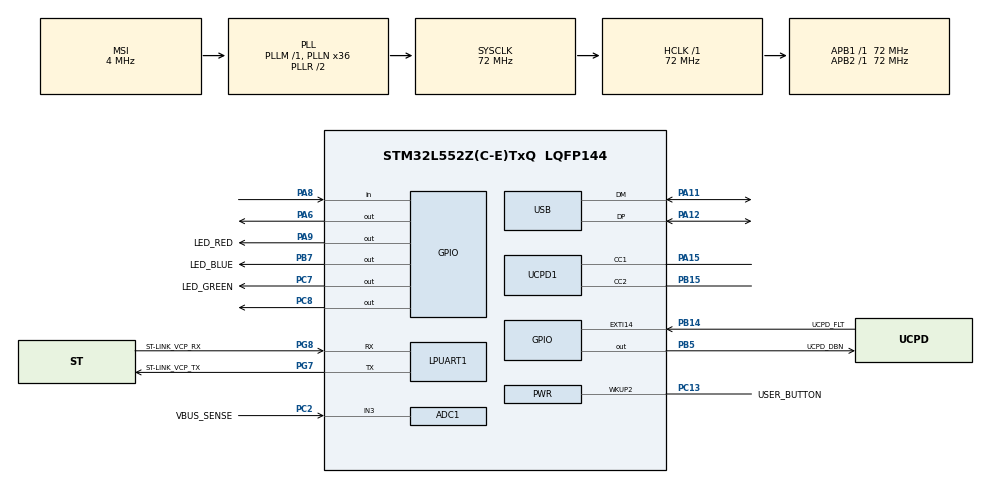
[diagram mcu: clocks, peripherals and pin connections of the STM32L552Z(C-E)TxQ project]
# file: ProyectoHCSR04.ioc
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ADC1.Channel-0\#ChannelRegularConversion=ADC_CHANNEL_3
ADC1.NbrOfConversionFlag=1
ADC1.OffsetNumber-0\#ChannelRegularConversion=ADC_OFFSET_NONE
ADC1.Rank-0\#ChannelRegularConversion=1
ADC1.SamplingTime-0\#ChannelRegularConversion=ADC_SAMPLETIME_2CYCLES_5
ADC1.master=1
Mcu.Family=STM32L5
Mcu.Name=STM32L552Z(C-E)TxQ
Mcu.Package=LQFP144
Mcu.TrustZone=disable
NVIC.PriorityGroup=NVIC_PRIORITYGROUP_3
PA11.Mode=Device
PA11.Signal=USB_DM
PA12.Mode=Device
PA12.Signal=USB_DP
PA13\ (JTMS/SWDIO).Mode=Trace_Asynchronous_SW
PA13\ (JTMS/SWDIO).Signal=DEBUG_JTMS-SWDIO
PA14\ (JTCK/SWCLK).Mode=Trace_Asynchronous_SW
PA14\ (JTCK/SWCLK).Signal=DEBUG_JTCK-SWCLK
PA15\ (JTDI).Mode=Source_AllSignals
PA15\ (JTDI).Signal=UCPD1_CC1
PA6.Signal=GPIO_Output
PA8.Signal=GPIO_Input
PA9.GPIO_Label=LED_RED
PA9.Signal=GPIO_Output
PB14.GPIO_Label=UCPD_FLT
PB14.Signal=GPXTI14
PB15.Mode=Source_AllSignals
PB15.Signal=UCPD1_CC2
PB3\ (JTDO/TRACESWO).Mode=Trace_Asynchronous_SW
PB3\ (JTDO/TRACESWO).Signal=DEBUG_JTDO-SWO
PB5.GPIO_Label=UCPD_DBN
PB5.Signal=GPIO_Output
PB7.GPIO_Label=LED_BLUE
PB7.Signal=GPIO_Output
PC13.GPIO_Label=USER_BUTTON
PC13.Mode=WakeUp1
PC13.Signal=PWR_WKUP2
PC14-OSC32_IN\ (PC14).Mode=LSE-External-Oscillator
PC14-OSC32_IN\ (PC14).Signal=RCC_OSC32_IN
PC15-OSC32_OUT\ (PC15).Mode=LSE-External-Oscillator
PC15-OSC32_OUT\ (PC15).Signal=RCC_OSC32_OUT
PC2.GPIO_Label=VBUS_SENSE
PC2.Signal=ADCx_IN3
PC7.GPIO_Label=LED_GREEN
PC7.Signal=GPIO_Output
PC8.Signal=GPIO_Output
PG7.GPIO_Label=ST-LINK_VCP_TX
PG7.Mode=Asynchronous
PG7.Signal=LPUART1_TX
PG8.GPIO_Label=ST-LINK_VCP_RX
PG8.Mode=Asynchronous
PG8.Signal=LPUART1_RX
ProjectManager.HeapSize=0x200
ProjectManager.StackSize=0x400
ProjectManager.TargetToolchain=STM32CubeIDE
RCC.ADCCLockSelection=RCC_ADCCLKSOURCE_SYSCLK
RCC.ADCFreq_Value=72000000
RCC.AHBFreq_Value=72000000
RCC.APB1Freq_Value=72000000
RCC.APB1TimFreq_Value=72000000
RCC.APB2Freq_Value=72000000
RCC.APB2TimFreq_Value=72000000
RCC.CK48CLockSelection=RCC_USBCLKSOURCE_HSI48
RCC.CortexFreq_Value=72000000
RCC.HCLKFreq_Value=72000000
RCC.HSE_VALUE=8000000
RCC.HSI48_VALUE=48000000
RCC.HSI_VALUE=16000000
RCC.MSI_VALUE=4000000
RCC.PLLN=36
RCC.PLLSAI1N=24
RCC.RTCClockSelection=RCC_RTCCLKSOURCE_LSE
RCC.SYSCLKFreq_VALUE=72000000
RCC.SYSCLKSource=RCC_SYSCLKSOURCE_PLLCLK
RCC.USBFreq_Value=48000000
RCC.VCOOutputFreq_Value=144000000
SH.ADCx_IN3.0=ADC1_IN3,IN3-Single-Ended
TIM1.Prescaler=72-1
VP_ICACHE_VS_ICACHE.Mode=DirectMappedCache
VP_PWR_VS_DBSignals.Mode=DisableDeadBatterySignals
VP_PWR_VS_SECSignals.Mode=Security/Privilege
VP_RTC_VS_RTC_Activate.Mode=RTC_Enabled
VP_TIM1_VS_ClockSourceINT.Mode=Internal
board=NUCLEO-L552ZE-Q

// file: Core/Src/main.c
/* USER CODE BEGIN Header */
/**
  ******************************************************************************
  * @file           : main.c
  * @brief          : Main program body
  ******************************************************************************
  * @attention
  *
  * Copyright (c) 2024 STMicroelectronics.
  * All rights reserved.
  *
  * This software is licensed under terms that can be found in the LICENSE file
  * in the root directory of this software component.
  * If no LICENSE file comes with this software, it is provided AS-IS.
  *
  ******************************************************************************
  */
/* USER CODE END Header */
#include "main.h"

ADC_HandleTypeDef hadc1;

UART_HandleTypeDef hlpuart1;

RTC_HandleTypeDef hrtc;

TIM_HandleTypeDef htim1;

PCD_HandleTypeDef hpcd_USB_FS;

void SystemClock_Config(void);
static void MX_GPIO_Init(void);
static void MX_ADC1_Init(void);
static void MX_ICACHE_Init(void);
static void MX_LPUART1_UART_Init(void);
static void MX_RTC_Init(void);
static void MX_UCPD1_Init(void);
static void MX_USB_PCD_Init(void);
static void MX_TIM1_Init(void);

/* USER CODE BEGIN 0 */
uint32_t IC_Val1 = 0;
uint32_t IC_Val2 = 0;
uint32_t Difference = 0;
uint8_t Is_First_Captured = 0;  // is the first value captured ?
uint32_t Distance  = 255;
uint32_t DistanceOld  = 0;
uint32_t pMillis;
uint32_t Value1 = 0;
uint32_t Value2 = 0;

#define TRIG_PIN GPIO_PIN_8
#define TRIG_PORT GPIOC
#define ECHO_PORT GPIOA
#define ECHO_PIN GPIO_PIN_8

void HCSR04_Read (void);
void delay(uint32_t time);
void pitidoZumbador(int tiempo);
int calcularTiempo(long Distance);
/* USER CODE END 0 */

int main(void)
{

  /* MCU Configuration--------------------------------------------------------*/

  /* Reset of all peripherals, Initializes the Flash interface and the Systick. */
  HAL_Init();

  /* Configure the system clock */
  SystemClock_Config();

  /* Initialize all configured peripherals */
  MX_GPIO_Init();
  MX_ADC1_Init();
  MX_ICACHE_Init();
  MX_LPUART1_UART_Init();
  MX_RTC_Init();
  MX_UCPD1_Init();
  MX_USB_PCD_Init();
  MX_TIM1_Init();
  /* USER CODE BEGIN 2 */
  HAL_TIM_Base_Start(&htim1);
  HAL_GPIO_WritePin(TRIG_PORT, TRIG_PIN, GPIO_PIN_RESET);
  /* USER CODE END 2 */

  /* Infinite loop */
  /* USER CODE BEGIN WHILE */
  HAL_GPIO_WritePin(GPIOA, GPIO_PIN_6, GPIO_PIN_RESET);
  int tiempo = 0;
  while (1)
  {
    /* USER CODE END WHILE */

    /* USER CODE BEGIN 3 */
	  DistanceOld = Distance;
	  HAL_GPIO_WritePin(TRIG_PORT, TRIG_PIN, GPIO_PIN_SET);  // pull the TRIG pin HIGH
	      __HAL_TIM_SET_COUNTER(&htim1, 0);
	      while (__HAL_TIM_GET_COUNTER (&htim1) < 10);  // wait for 10 us
	      HAL_GPIO_WritePin(TRIG_PORT, TRIG_PIN, GPIO_PIN_RESET);  // pull the TRIG pin low

	      pMillis = HAL_GetTick(); // used this to avoid infinite while loop  (for timeout)
	      // wait for the echo pin to go high
	      while (!(HAL_GPIO_ReadPin (ECHO_PORT, ECHO_PIN)) && pMillis + 10 >  HAL_GetTick());
	      Value1 = __HAL_TIM_GET_COUNTER (&htim1);

	      pMillis = HAL_GetTick(); // used this to avoid infinite while loop (for timeout)
	      // wait for the echo pin to go low
	      while ((HAL_GPIO_ReadPin (ECHO_PORT, ECHO_PIN)) && pMillis + 50 > HAL_GetTick());
	      Value2 = __HAL_TIM_GET_COUNTER (&htim1);
	      Distance = (Value2-Value1)* 0.034/2;

	      //if(DistanceOld - Distance >= 100 || Distance - DistanceOld >= 100){
	    //  HAL_GPIO_WritePin(GPIOA, GPIO_PIN_6, GPIO_PIN_RESET);
	      //}else{

	    	  tiempo = calcularTiempo(Distance);
	    	  if(tiempo == 69){
	    		  HAL_GPIO_WritePin(GPIOA, GPIO_PIN_6, GPIO_PIN_RESET);
	    		  HAL_Delay(100);
	    	  }else{
	    		  pitidoZumbador(tiempo);
	    	  }
	      //}

  }
  /* USER CODE END 3 */
}

void SystemClock_Config(void)
{
  RCC_OscInitTypeDef RCC_OscInitStruct = {0};
  RCC_ClkInitTypeDef RCC_ClkInitStruct = {0};

  /** Configure the main internal regulator output voltage
  */
  if (HAL_PWREx_ControlVoltageScaling(PWR_REGULATOR_VOLTAGE_SCALE1) != HAL_OK)
  {
    Error_Handler();
  }

  /** Configure LSE Drive Capability
  */
  HAL_PWR_EnableBkUpAccess();
  __HAL_RCC_LSEDRIVE_CONFIG(RCC_LSEDRIVE_LOW);

  /** Initializes the RCC Oscillators according to the specified parameters
  * in the RCC_OscInitTypeDef structure.
  */
  RCC_OscInitStruct.OscillatorType = RCC_OSCILLATORTYPE_HSI48|RCC_OSCILLATORTYPE_HSI
                              |RCC_OSCILLATORTYPE_LSE|RCC_OSCILLATORTYPE_MSI;
  RCC_OscInitStruct.LSEState = RCC_LSE_ON;
  RCC_OscInitStruct.HSIState = RCC_HSI_ON;
  RCC_OscInitStruct.HSI48State = RCC_HSI48_ON;
  RCC_OscInitStruct.HSICalibrationValue = RCC_HSICALIBRATION_DEFAULT;
  RCC_OscInitStruct.MSIState = RCC_MSI_ON;
  RCC_OscInitStruct.MSICalibrationValue = RCC_MSICALIBRATION_DEFAULT;
  RCC_OscInitStruct.MSIClockRange = RCC_MSIRANGE_6;
  RCC_OscInitStruct.PLL.PLLState = RCC_PLL_ON;
  RCC_OscInitStruct.PLL.PLLSource = RCC_PLLSOURCE_MSI;
  RCC_OscInitStruct.PLL.PLLM = 1;
  RCC_OscInitStruct.PLL.PLLN = 36;
  RCC_OscInitStruct.PLL.PLLP = RCC_PLLP_DIV7;
  RCC_OscInitStruct.PLL.PLLQ = RCC_PLLQ_DIV2;
  RCC_OscInitStruct.PLL.PLLR = RCC_PLLR_DIV2;
  if (HAL_RCC_OscConfig(&RCC_OscInitStruct) != HAL_OK)
  {
    Error_Handler();
  }

  /** Initializes the CPU, AHB and APB buses clocks
  */
  RCC_ClkInitStruct.ClockType = RCC_CLOCKTYPE_HCLK|RCC_CLOCKTYPE_SYSCLK
                              |RCC_CLOCKTYPE_PCLK1|RCC_CLOCKTYPE_PCLK2;
  RCC_ClkInitStruct.SYSCLKSource = RCC_SYSCLKSOURCE_PLLCLK;
  RCC_ClkInitStruct.AHBCLKDivider = RCC_SYSCLK_DIV1;
  RCC_ClkInitStruct.APB1CLKDivider = RCC_HCLK_DIV1;
  RCC_ClkInitStruct.APB2CLKDivider = RCC_HCLK_DIV1;

  if (HAL_RCC_ClockConfig(&RCC_ClkInitStruct, FLASH_LATENCY_3) != HAL_OK)
  {
    Error_Handler();
  }
}

static void MX_ADC1_Init(void)
{

  ADC_MultiModeTypeDef multimode = {0};
  ADC_ChannelConfTypeDef sConfig = {0};

  /** Common config
  */
  hadc1.Instance = ADC1;
  hadc1.Init.ClockPrescaler = ADC_CLOCK_ASYNC_DIV1;
  hadc1.Init.Resolution = ADC_RESOLUTION_12B;
  hadc1.Init.DataAlign = ADC_DATAALIGN_RIGHT;
  hadc1.Init.ScanConvMode = ADC_SCAN_DISABLE;
  hadc1.Init.EOCSelection = ADC_EOC_SINGLE_CONV;
  hadc1.Init.LowPowerAutoWait = DISABLE;
  hadc1.Init.ContinuousConvMode = DISABLE;
  hadc1.Init.NbrOfConversion = 1;
  hadc1.Init.DiscontinuousConvMode = DISABLE;
  hadc1.Init.ExternalTrigConv = ADC_SOFTWARE_START;
  hadc1.Init.ExternalTrigConvEdge = ADC_EXTERNALTRIGCONVEDGE_NONE;
  hadc1.Init.DMAContinuousRequests = DISABLE;
  hadc1.Init.Overrun = ADC_OVR_DATA_PRESERVED;
  hadc1.Init.OversamplingMode = DISABLE;
  if (HAL_ADC_Init(&hadc1) != HAL_OK)
  {
    Error_Handler();
  }

  /** Configure the ADC multi-mode
  */
  multimode.Mode = ADC_MODE_INDEPENDENT;
  if (HAL_ADCEx_MultiModeConfigChannel(&hadc1, &multimode) != HAL_OK)
  {
    Error_Handler();
  }

  /** Configure Regular Channel
  */
  sConfig.Channel = ADC_CHANNEL_3;
  sConfig.Rank = ADC_REGULAR_RANK_1;
  sConfig.SamplingTime = ADC_SAMPLETIME_2CYCLES_5;
  sConfig.SingleDiff = ADC_SINGLE_ENDED;
  sConfig.OffsetNumber = ADC_OFFSET_NONE;
  sConfig.Offset = 0;
  if (HAL_ADC_ConfigChannel(&hadc1, &sConfig) != HAL_OK)
  {
    Error_Handler();
  }

}

static void MX_ICACHE_Init(void)
{

  /** Enable instruction cache in 1-way (direct mapped cache)
  */
  if (HAL_ICACHE_ConfigAssociativityMode(ICACHE_1WAY) != HAL_OK)
  {
    Error_Handler();
  }
  if (HAL_ICACHE_Enable() != HAL_OK)
  {
    Error_Handler();
  }

}

static void MX_LPUART1_UART_Init(void)
{

  hlpuart1.Instance = LPUART1;
  hlpuart1.Init.BaudRate = 209700;
  hlpuart1.Init.WordLength = UART_WORDLENGTH_8B;
  hlpuart1.Init.StopBits = UART_STOPBITS_1;
  hlpuart1.Init.Parity = UART_PARITY_NONE;
  hlpuart1.Init.Mode = UART_MODE_TX_RX;
  hlpuart1.Init.HwFlowCtl = UART_HWCONTROL_NONE;
  hlpuart1.Init.OneBitSampling = UART_ONE_BIT_SAMPLE_DISABLE;
  hlpuart1.Init.ClockPrescaler = UART_PRESCALER_DIV1;
  hlpuart1.AdvancedInit.AdvFeatureInit = UART_ADVFEATURE_NO_INIT;
  hlpuart1.FifoMode = UART_FIFOMODE_DISABLE;
  if (HAL_UART_Init(&hlpuart1) != HAL_OK)
  {
    Error_Handler();
  }
  if (HAL_UARTEx_SetTxFifoThreshold(&hlpuart1, UART_TXFIFO_THRESHOLD_1_8) != HAL_OK)
  {
    Error_Handler();
  }
  if (HAL_UARTEx_SetRxFifoThreshold(&hlpuart1, UART_RXFIFO_THRESHOLD_1_8) != HAL_OK)
  {
    Error_Handler();
  }
  if (HAL_UARTEx_DisableFifoMode(&hlpuart1) != HAL_OK)
  {
    Error_Handler();
  }

}

static void MX_RTC_Init(void)
{

  RTC_PrivilegeStateTypeDef privilegeState = {0};

  /** Initialize RTC Only
  */
  hrtc.Instance = RTC;
  hrtc.Init.HourFormat = RTC_HOURFORMAT_24;
  hrtc.Init.AsynchPrediv = 127;
  hrtc.Init.SynchPrediv = 255;
  hrtc.Init.OutPut = RTC_OUTPUT_DISABLE;
  hrtc.Init.OutPutRemap = RTC_OUTPUT_REMAP_NONE;
  hrtc.Init.OutPutPolarity = RTC_OUTPUT_POLARITY_HIGH;
  hrtc.Init.OutPutType = RTC_OUTPUT_TYPE_OPENDRAIN;
  hrtc.Init.OutPutPullUp = RTC_OUTPUT_PULLUP_NONE;
  if (HAL_RTC_Init(&hrtc) != HAL_OK)
  {
    Error_Handler();
  }
  privilegeState.rtcPrivilegeFull = RTC_PRIVILEGE_FULL_NO;
  privilegeState.backupRegisterPrivZone = RTC_PRIVILEGE_BKUP_ZONE_NONE;
  privilegeState.backupRegisterStartZone2 = RTC_BKP_DR0;
  privilegeState.backupRegisterStartZone3 = RTC_BKP_DR0;
  if (HAL_RTCEx_PrivilegeModeSet(&hrtc, &privilegeState) != HAL_OK)
  {
    Error_Handler();
  }

}

static void MX_TIM1_Init(void)
{

  TIM_ClockConfigTypeDef sClockSourceConfig = {0};
  TIM_MasterConfigTypeDef sMasterConfig = {0};

  htim1.Instance = TIM1;
  htim1.Init.Prescaler = 72-1;
  htim1.Init.CounterMode = TIM_COUNTERMODE_UP;
  htim1.Init.Period = 65535;
  htim1.Init.ClockDivision = TIM_CLOCKDIVISION_DIV1;
  htim1.Init.RepetitionCounter = 0;
  htim1.Init.AutoReloadPreload = TIM_AUTORELOAD_PRELOAD_DISABLE;
  if (HAL_TIM_Base_Init(&htim1) != HAL_OK)
  {
    Error_Handler();
  }
  sClockSourceConfig.ClockSource = TIM_CLOCKSOURCE_INTERNAL;
  if (HAL_TIM_ConfigClockSource(&htim1, &sClockSourceConfig) != HAL_OK)
  {
    Error_Handler();
  }
  sMasterConfig.MasterOutputTrigger = TIM_TRGO_RESET;
  sMasterConfig.MasterOutputTrigger2 = TIM_TRGO2_RESET;
  sMasterConfig.MasterSlaveMode = TIM_MASTERSLAVEMODE_DISABLE;
  if (HAL_TIMEx_MasterConfigSynchronization(&htim1, &sMasterConfig) != HAL_OK)
  {
    Error_Handler();
  }

}

static void MX_UCPD1_Init(void)
{

  LL_GPIO_InitTypeDef GPIO_InitStruct = {0};

  /* Peripheral clock enable */
  LL_APB1_GRP2_EnableClock(LL_APB1_GRP2_PERIPH_UCPD1);

  LL_AHB2_GRP1_EnableClock(LL_AHB2_GRP1_PERIPH_GPIOB);
  LL_AHB2_GRP1_EnableClock(LL_AHB2_GRP1_PERIPH_GPIOA);
  /**UCPD1 GPIO Configuration
  PB15   ------> UCPD1_CC2
  PA15 (JTDI)   ------> UCPD1_CC1
  */
  GPIO_InitStruct.Pin = LL_GPIO_PIN_15;
  GPIO_InitStruct.Mode = LL_GPIO_MODE_ANALOG;
  GPIO_InitStruct.Pull = LL_GPIO_PULL_NO;
  LL_GPIO_Init(GPIOB, &GPIO_InitStruct);

  GPIO_InitStruct.Pin = LL_GPIO_PIN_15;
  GPIO_InitStruct.Mode = LL_GPIO_MODE_ANALOG;
  GPIO_InitStruct.Pull = LL_GPIO_PULL_NO;
  LL_GPIO_Init(GPIOA, &GPIO_InitStruct);

}

static void MX_USB_PCD_Init(void)
{

  hpcd_USB_FS.Instance = USB;
  hpcd_USB_FS.Init.dev_endpoints = 8;
  hpcd_USB_FS.Init.speed = PCD_SPEED_FULL;
  hpcd_USB_FS.Init.phy_itface = PCD_PHY_EMBEDDED;
  hpcd_USB_FS.Init.Sof_enable = DISABLE;
  hpcd_USB_FS.Init.low_power_enable = DISABLE;
  hpcd_USB_FS.Init.lpm_enable = DISABLE;
  hpcd_USB_FS.Init.battery_charging_enable = DISABLE;
  if (HAL_PCD_Init(&hpcd_USB_FS) != HAL_OK)
  {
    Error_Handler();
  }

}

static void MX_GPIO_Init(void)
{
  GPIO_InitTypeDef GPIO_InitStruct = {0};

  /* GPIO Ports Clock Enable */
  __HAL_RCC_GPIOC_CLK_ENABLE();
  __HAL_RCC_GPIOA_CLK_ENABLE();
  __HAL_RCC_GPIOB_CLK_ENABLE();
  __HAL_RCC_GPIOG_CLK_ENABLE();
  HAL_PWREx_EnableVddIO2();

  /*Configure GPIO pin Output Level */
  HAL_GPIO_WritePin(GPIOA, GPIO_PIN_6|LED_RED_Pin, GPIO_PIN_RESET);

  /*Configure GPIO pin Output Level */
  HAL_GPIO_WritePin(GPIOC, LED_GREEN_Pin|GPIO_PIN_8, GPIO_PIN_RESET);

  /*Configure GPIO pin Output Level */
  HAL_GPIO_WritePin(GPIOB, UCPD_DBN_Pin|LED_BLUE_Pin, GPIO_PIN_RESET);

  /*Configure GPIO pins : PA6 LED_RED_Pin */
  GPIO_InitStruct.Pin = GPIO_PIN_6|LED_RED_Pin;
  GPIO_InitStruct.Mode = GPIO_MODE_OUTPUT_PP;
  GPIO_InitStruct.Pull = GPIO_NOPULL;
  GPIO_InitStruct.Speed = GPIO_SPEED_FREQ_LOW;
  HAL_GPIO_Init(GPIOA, &GPIO_InitStruct);

  /*Configure GPIO pin : UCPD_FLT_Pin */
  GPIO_InitStruct.Pin = UCPD_FLT_Pin;
  GPIO_InitStruct.Mode = GPIO_MODE_IT_RISING;
  GPIO_InitStruct.Pull = GPIO_NOPULL;
  HAL_GPIO_Init(UCPD_FLT_GPIO_Port, &GPIO_InitStruct);

  /*Configure GPIO pins : LED_GREEN_Pin PC8 */
  GPIO_InitStruct.Pin = LED_GREEN_Pin|GPIO_PIN_8;
  GPIO_InitStruct.Mode = GPIO_MODE_OUTPUT_PP;
  GPIO_InitStruct.Pull = GPIO_NOPULL;
  GPIO_InitStruct.Speed = GPIO_SPEED_FREQ_LOW;
  HAL_GPIO_Init(GPIOC, &GPIO_InitStruct);

  /*Configure GPIO pin : PA8 */
  GPIO_InitStruct.Pin = GPIO_PIN_8;
  GPIO_InitStruct.Mode = GPIO_MODE_INPUT;
  GPIO_InitStruct.Pull = GPIO_NOPULL;
  HAL_GPIO_Init(GPIOA, &GPIO_InitStruct);

  /*Configure GPIO pins : UCPD_DBN_Pin LED_BLUE_Pin */
  GPIO_InitStruct.Pin = UCPD_DBN_Pin|LED_BLUE_Pin;
  GPIO_InitStruct.Mode = GPIO_MODE_OUTPUT_PP;
  GPIO_InitStruct.Pull = GPIO_NOPULL;
  GPIO_InitStruct.Speed = GPIO_SPEED_FREQ_LOW;
  HAL_GPIO_Init(GPIOB, &GPIO_InitStruct);

}

/* USER CODE BEGIN 4 */

int calcularTiempo(long Distance) {

     if (Distance >= 135 && Distance < 200) {
        return 3000;
    } else if (Distance >= 100 && Distance < 135) {
        return 1000;
    } else if (Distance >= 50 && Distance < 100) {
        return 500;
    } else if (Distance < 50 && Distance >= 20) {
        return 200;
    } else if (Distance >= 200) {
        return 69;
    }else {
    	return 100;
    }

}

void pitidoZumbador(int tiempo) {

	HAL_GPIO_WritePin(GPIOA, GPIO_PIN_6, GPIO_PIN_SET);
	HAL_Delay(100);
	HAL_GPIO_WritePin(GPIOA, GPIO_PIN_6, GPIO_PIN_RESET);
	HAL_Delay(tiempo);

}

void delay(uint32_t time){
	__HAL_TIM_SET_COUNTER(&htim1,0);
	while(__HAL_TIM_GET_COUNTER (&htim1) < time);
}

void HCSR04_Read (void)
{
	HAL_GPIO_WritePin(TRIG_PORT, TRIG_PIN, GPIO_PIN_SET);  // pull the TRIG pin HIGH
	delay(10);  // wait for 10 us
	HAL_GPIO_WritePin(TRIG_PORT, TRIG_PIN, GPIO_PIN_RESET);  // pull the TRIG pin low

	__HAL_TIM_ENABLE_IT(&htim1, TIM_IT_CC1);
}

void HAL_TIM_IC_CaptureCallback(TIM_HandleTypeDef *htim)
{
	if (htim->Channel == HAL_TIM_ACTIVE_CHANNEL_1)  // if the interrupt source is channel1
	{
		if (Is_First_Captured==0) // if the first value is not captured
		{
			IC_Val1 = HAL_TIM_ReadCapturedValue(htim, TIM_CHANNEL_1); // read the first value
			Is_First_Captured = 1;  // set the first captured as true
			// Now change the polarity to falling edge
			__HAL_TIM_SET_CAPTUREPOLARITY(htim, TIM_CHANNEL_1, TIM_INPUTCHANNELPOLARITY_FALLING);
		}

		else if (Is_First_Captured==1)   // if the first is already captured
		{
			IC_Val2 = HAL_TIM_ReadCapturedValue(htim, TIM_CHANNEL_1);  // read second value
			__HAL_TIM_SET_COUNTER(htim, 0);  // reset the counter

			if (IC_Val2 > IC_Val1)
			{
				Difference = IC_Val2-IC_Val1;
			}

			else if (IC_Val1 > IC_Val2)
			{
				Difference = (0xffff - IC_Val1) + IC_Val2;
			}

			Distance = Difference * .034/2;
			Is_First_Captured = 0; // set it back to false

			// set polarity to rising edge
			__HAL_TIM_SET_CAPTUREPOLARITY(htim, TIM_CHANNEL_1, TIM_INPUTCHANNELPOLARITY_RISING);
			__HAL_TIM_DISABLE_IT(&htim1, TIM_IT_CC1);
		}
	}
}
/* USER CODE END 4 */

void Error_Handler(void)
{
  __disable_irq();
  while (1)
  {
  }
}
